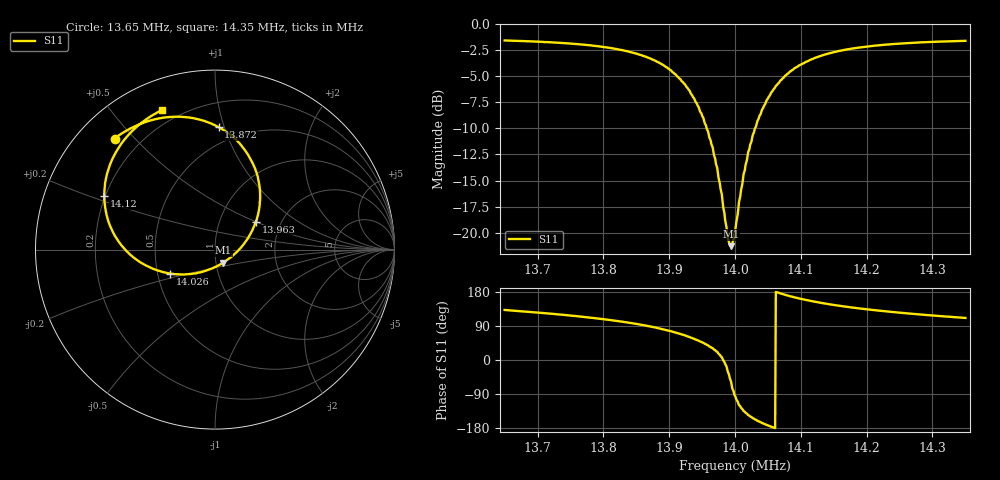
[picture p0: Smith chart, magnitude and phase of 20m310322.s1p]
# MHz S MA R 50
!  freq  S11
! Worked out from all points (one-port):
!   500 points, 13.65 MHz to 14.35 MHz, reference 50 ohm
!   lowest |S11| = -21.3 dB at 13.994 MHz (marker M1), VSWR 1.19, Z = 54.3 - j7.93 ohm
!   |S11| at or under -10 dB: 13.957 MHz to 14.03 MHz (73.36 kHz wide, 0.524 % of centre)
!   S11 on the Smith chart (normalised r, x): 13.65 MHz: 0.11, +0.44; 13.872 MHz: 0.37, +0.96; 13.963 MHz: 1.49, +0.50; 14.026 MHz: 0.58, -0.17; 14.12 MHz: 0.20, +0.22; 14.35 MHz: 0.14, +0.68
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13.65  0.834 132.1
13.738  0.8114 119.2
13.785  0.7879 110.9
13.825  0.7531 101.9
13.872  0.6827 88.3
13.893  0.6298 80.1
13.914  0.556 70.4
13.931  0.479 60.7
13.945  0.3985 50.9
13.963  0.2767 34.3
13.973  0.2043 21.5
13.98  0.1524 7.3
13.982  0.133 -0.4
13.989  0.09437 -30.4
13.994  0.08619 -57.2
13.998  0.09338 -83.1
14.001  0.1057 -98.4
14.013  0.1904 -134.5
14.026  0.2844 -152.1
14.041  0.3879 -166.2
14.055  0.4698 -176.3
14.069  0.5368 175.5
14.088  0.604 166.6
14.12  0.6848 154.3
14.175  0.7599 139.2
14.215  0.7897 130.9
14.263  0.8108 122.9
14.35  0.8309 111.0
